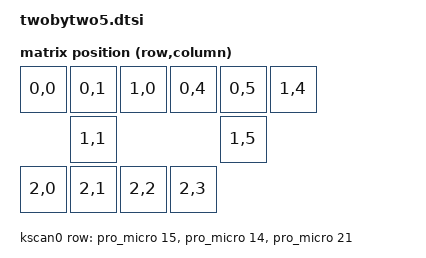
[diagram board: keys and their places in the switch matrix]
#include <dt-bindings/zmk/matrix_transform.h>

/ {
  chosen {
    zmk,kscan = &kscan0;
    zmk,matrix_transform = &default_transform;
  };

  default_transform: keymap_transform_0 {
    compatible = "zmk,matrix-transform";
    columns = <6>;
    rows = <2>;

// +-----+-----+-----+  +-----+-----+-----+
// | MX1 | MX2 | MX3 |  | MX4 | MX5 | Mx6 |
// +-----+-----+-----+  +-----+-----+-----+
// |       MX7       |  |       MX8       |
// +-----------------+  +-----------------+
//
// MX9 MX10 MX11 MX12 for the mouse emulation row no. 2

  map = <
    RC(0,0) RC(0,1) RC(1,0) RC(0,4) RC(0,5) RC(1,4)
            RC(1,1)                 RC(1,5)
    RC(2,0) RC(2,1) RC(2,2) RC(2,3)
    >;
  };

  kscan0: kscan_0 {
    compatible = "zmk,kscan-gpio-matrix";
    label = "KSCAN";
    diode-direction = "row2col";

    row-gpios
      = <&pro_micro 15 GPIO_ACTIVE_HIGH>
      , <&pro_micro 14 GPIO_ACTIVE_HIGH>
      , <&pro_micro 21 GPIO_ACTIVE_HIGH>
      ;
  };
};
